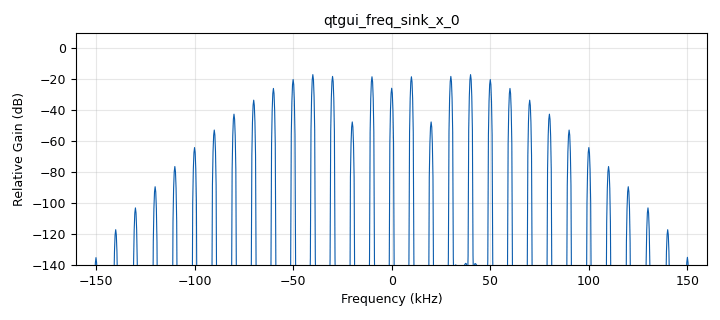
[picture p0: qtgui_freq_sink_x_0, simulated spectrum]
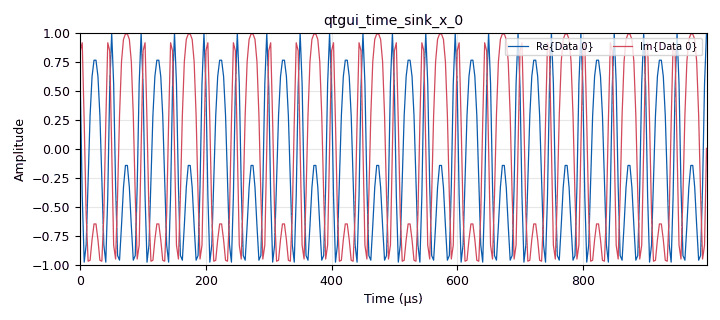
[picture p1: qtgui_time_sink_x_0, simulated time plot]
options:
  parameters:
    author: luso
    generate_options: qt_gui
    id: teste4
    output_language: python
    title: Not titled yet
  states: {}

blocks:
- name: freq
  id: variable_qtgui_entry
  parameters:
    type: int
    value: '10000'
  states: {}
- name: samp_rate
  id: variable
  parameters:
    value: '320000'
  states: {}
- name: analog_frequency_modulator_fc_0
  id: analog_frequency_modulator_fc
  parameters:
    sensitivity: '1'
  states: {}
- name: analog_phase_modulator_fc_0
  id: analog_phase_modulator_fc
  parameters:
    sensitivity: '2'
  states: {state: disabled}
- name: analog_sig_source_x_0
  id: analog_sig_source_x
  parameters:
    amp: '1'
    freq: freq
    offset: '0'
    phase: '0'
    samp_rate: samp_rate
    type: float
    waveform: analog.GR_COS_WAVE
  states: {}
- name: qtgui_freq_sink_x_0
  id: qtgui_freq_sink_x
  parameters:
    bw: samp_rate
    fc: '0'
    fftsize: '1024'
    type: complex
  states: {}
- name: qtgui_time_sink_x_0
  id: qtgui_time_sink_x
  parameters:
    size: round(10*samp_rate/freq)
    srate: samp_rate
    type: complex
  states: {}

connections:
- [analog_frequency_modulator_fc_0, '0', qtgui_freq_sink_x_0, '0']
- [analog_frequency_modulator_fc_0, '0', qtgui_time_sink_x_0, '0']
- [analog_phase_modulator_fc_0, '0', qtgui_freq_sink_x_0, '0']
- [analog_phase_modulator_fc_0, '0', qtgui_time_sink_x_0, '0']
- [analog_sig_source_x_0, '0', analog_frequency_modulator_fc_0, '0']
- [analog_sig_source_x_0, '0', analog_phase_modulator_fc_0, '0']

metadata:
  file_format: 1
  grc_version: 3.10.10.0
